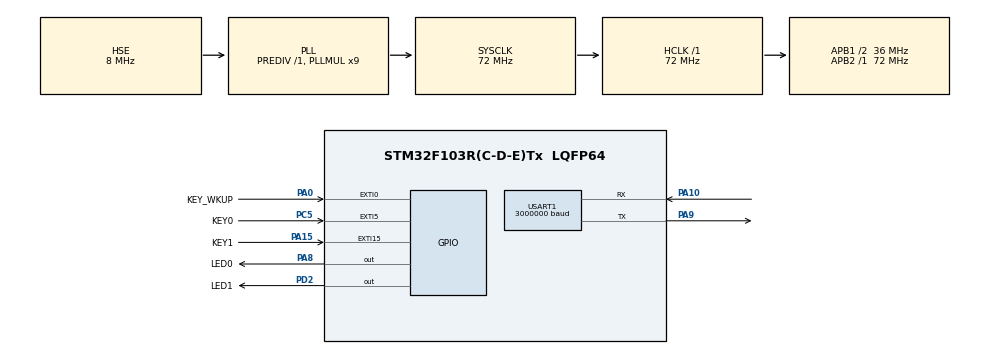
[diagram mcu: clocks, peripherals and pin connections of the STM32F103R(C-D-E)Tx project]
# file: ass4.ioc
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Mcu.Family=STM32F1
Mcu.Name=STM32F103R(C-D-E)Tx
Mcu.Package=LQFP64
NVIC.EXTI0_IRQn=true\:2\:0\:true\:false\:true\:true\:true\:true
NVIC.EXTI15_10_IRQn=true\:2\:2\:true\:false\:true\:true\:true\:true
NVIC.EXTI9_5_IRQn=true\:2\:1\:true\:false\:true\:true\:true\:true
NVIC.PriorityGroup=NVIC_PRIORITYGROUP_2
NVIC.TIM2_IRQn=true\:2\:2\:true\:false\:true\:true\:true\:true
NVIC.TIM3_IRQn=true\:2\:3\:true\:false\:true\:true\:true\:true
NVIC.TIM4_IRQn=true\:2\:3\:true\:false\:true\:true\:true\:true
NVIC.USART1_IRQn=true\:1\:0\:true\:false\:true\:true\:true\:true
PA0-WKUP.GPIO_Label=KEY_WKUP
PA0-WKUP.GPIO_PuPd=GPIO_PULLDOWN
PA0-WKUP.Signal=GPXTI0
PA10.Mode=Asynchronous
PA10.Signal=USART1_RX
PA13.Mode=Serial_Wire
PA13.Signal=SYS_JTMS-SWDIO
PA14.Mode=Serial_Wire
PA14.Signal=SYS_JTCK-SWCLK
PA15.GPIO_Label=KEY1
PA15.GPIO_ModeDefaultEXTI=GPIO_MODE_IT_FALLING
PA15.GPIO_PuPd=GPIO_PULLUP
PA15.Signal=GPXTI15
PA8.GPIO_Label=LED0
PA8.Signal=GPIO_Output
PA9.Mode=Asynchronous
PA9.Signal=USART1_TX
PC5.GPIO_Label=KEY0
PC5.GPIO_ModeDefaultEXTI=GPIO_MODE_IT_FALLING
PC5.GPIO_PuPd=GPIO_PULLUP
PC5.Signal=GPXTI5
PD0-OSC_IN.Mode=HSE-External-Oscillator
PD0-OSC_IN.Signal=RCC_OSC_IN
PD1-OSC_OUT.Mode=HSE-External-Oscillator
PD1-OSC_OUT.Signal=RCC_OSC_OUT
PD2.GPIO_Label=LED1
PD2.Signal=GPIO_Output
ProjectManager.HeapSize=0x200
ProjectManager.StackSize=0x400
ProjectManager.TargetToolchain=STM32CubeIDE
RCC.AHBFreq_Value=72000000
RCC.APB1CLKDivider=RCC_HCLK_DIV2
RCC.APB1Freq_Value=36000000
RCC.APB1TimFreq_Value=72000000
RCC.APB2Freq_Value=72000000
RCC.APB2TimFreq_Value=72000000
RCC.HCLKFreq_Value=72000000
RCC.PLLMUL=RCC_PLL_MUL9
RCC.PLLSourceVirtual=RCC_PLLSOURCE_HSE
RCC.SYSCLKFreq_VALUE=72000000
RCC.SYSCLKSource=RCC_SYSCLKSOURCE_PLLCLK
RCC.USBFreq_Value=72000000
TIM2.Period=999
TIM2.Prescaler=2399
TIM3.Period=999
TIM3.Prescaler=2399
TIM4.Period=9999
TIM4.Prescaler=7199
USART1.BaudRate=3000000
USART1.VirtualMode=VM_ASYNC
VP_TIM2_VS_ClockSourceINT.Mode=Internal
VP_TIM3_VS_ClockSourceINT.Mode=Internal
VP_TIM4_VS_ClockSourceINT.Mode=Internal
board=custom

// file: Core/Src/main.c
/* USER CODE BEGIN Header */
/**
  ******************************************************************************
  * @file           : main.c
  * @brief          : Main program body
  ******************************************************************************
  * @attention
  *
  * Copyright (c) 2024 STMicroelectronics.
  * All rights reserved.
  *
  * This software is licensed under terms that can be found in the LICENSE file
  * in the root directory of this software component.
  * If no LICENSE file comes with this software, it is provided AS-IS.
  *
  ******************************************************************************
  */
/* USER CODE END Header */
#include "main.h"
#include "tim.h"
#include "usart.h"
#include "gpio.h"

/* USER CODE BEGIN Includes */
#include "touch.h"
#include "lcd.h"
#include "delay.h"

#include "objects.h"
#include "draw.h"
#include "control.h"

#include "24cxx.h"

#include <stdio.h>
#include <string.h>
#include <time.h>
#include <stdlib.h>
/* USER CODE END Includes */

/* USER CODE BEGIN PD */
#define SCORE_SAVE_ADDR_BASE 60
/* USER CODE END PD */

/* USER CODE BEGIN PV */
uint8_t need_draw = 0, need_logic = 1;
float speed_x = 0, speed_y = 0;
float total_x = 0, end_position = 3000;
uint8_t sig_end = 0, end_msg_display = 0;
uint8_t scence_id = 0, score = 0, max_score = 0;

list_t obj_list_head;
// button -> ground -> character -> obstacle
list_t *ground_list_head = NULL, *obstacle_list_head = NULL, *character_list_head = NULL;

/* USER CODE END PV */

void SystemClock_Config(void);
/* USER CODE BEGIN PFP */
void show_greeting();
void init_button(list_t *p);
void init_ground(list_t *p);
void init_character(list_t *p);
void elements_init();
void show_warn(const char* s);
uint8_t MS_read_score();

/* USER CODE END PFP */

int main(void)
{

  /* MCU Configuration--------------------------------------------------------*/

  /* Reset of all peripherals, Initializes the Flash interface and the Systick. */
  HAL_Init();

  /* Configure the system clock */
  SystemClock_Config();

  /* Initialize all configured peripherals */
  MX_GPIO_Init();
  MX_USART1_UART_Init();
  MX_TIM3_Init();
  MX_TIM2_Init();
  MX_TIM4_Init();
  /* USER CODE BEGIN 2 */
  srand(HAL_GetTick());
  HAL_Delay_Init(72);
  LCD_Init();
  tp_dev.init(); // AT24Cxx Inited
  /* USER CODE END 2 */

  /* Infinite loop */
  /* USER CODE BEGIN WHILE */
  LCD_Display_Dir(1);
  POINT_COLOR = RED;

  show_greeting();

  elements_init();

  HAL_Delay(1500);
  srand(HAL_GetTick());

  need_draw = need_logic = 0;
  max_score = MS_read_score();
  HAL_TIM_Base_Start_IT(&htim2);
  HAL_TIM_Base_Start_IT(&htim3);
  HAL_TIM_Base_Start_IT(&htim4);

  while (1)
  {
    /* USER CODE END WHILE */

    /* USER CODE BEGIN 3 */
    if (need_draw && end_msg_display == 0 && need_logic <= 4){
      need_draw -= 1;
      draw_all(obj_list_head.next);
      show_game_status();
      if (sig_end){
        //TODO press key1 to restart
        end_msg_display = 1;
        LCD_Fill_Window(0, 80, 320, 170, WHITE);
        LCD_ShowString(50, 90, 200, 24, 24, "Game Finished!");
        show_game_status();
        if (max_score < score){
          max_score = score;
          MS_write_score(max_score);
        }
      }
      if (need_draw > 4){
        show_warn("                          ");
        show_warn("Drawing exceed time limits");
      }
    }
    if (need_logic && end_msg_display == 0){
      need_logic -= 1;
      game_logic(ground_list_head->next);
      update_elements(ground_list_head->next);
      if (need_logic > 4){
        // show_warn("Logic exceed time limits");
      }
    }
  }
  /* USER CODE END 3 */
}

void SystemClock_Config(void)
{
  RCC_OscInitTypeDef RCC_OscInitStruct = {0};
  RCC_ClkInitTypeDef RCC_ClkInitStruct = {0};

  /** Initializes the RCC Oscillators according to the specified parameters
  * in the RCC_OscInitTypeDef structure.
  */
  RCC_OscInitStruct.OscillatorType = RCC_OSCILLATORTYPE_HSE;
  RCC_OscInitStruct.HSEState = RCC_HSE_ON;
  RCC_OscInitStruct.HSEPredivValue = RCC_HSE_PREDIV_DIV1;
  RCC_OscInitStruct.HSIState = RCC_HSI_ON;
  RCC_OscInitStruct.PLL.PLLState = RCC_PLL_ON;
  RCC_OscInitStruct.PLL.PLLSource = RCC_PLLSOURCE_HSE;
  RCC_OscInitStruct.PLL.PLLMUL = RCC_PLL_MUL9;
  if (HAL_RCC_OscConfig(&RCC_OscInitStruct) != HAL_OK)
  {
    Error_Handler();
  }

  /** Initializes the CPU, AHB and APB buses clocks
  */
  RCC_ClkInitStruct.ClockType = RCC_CLOCKTYPE_HCLK|RCC_CLOCKTYPE_SYSCLK
                              |RCC_CLOCKTYPE_PCLK1|RCC_CLOCKTYPE_PCLK2;
  RCC_ClkInitStruct.SYSCLKSource = RCC_SYSCLKSOURCE_PLLCLK;
  RCC_ClkInitStruct.AHBCLKDivider = RCC_SYSCLK_DIV1;
  RCC_ClkInitStruct.APB1CLKDivider = RCC_HCLK_DIV2;
  RCC_ClkInitStruct.APB2CLKDivider = RCC_HCLK_DIV1;

  if (HAL_RCC_ClockConfig(&RCC_ClkInitStruct, FLASH_LATENCY_2) != HAL_OK)
  {
    Error_Handler();
  }
}

/* USER CODE BEGIN 4 */
void show_greeting(){
  LCD_ShowString(30, 50, 200, 16, 16, "Created by JCX");
  LCD_ShowString(30, 70, 300, 16, 16, "Character/Scene Design:");
  LCD_ShowString(30, 90, 300, 16, 16, "  Videocult: Rain World");
  LCD_ShowString(30, 110, 200, 16, 16, "Artist: JCX");
  LCD_ShowString(30, 130, 200, 16, 16, "Programmer: JCX");
  LCD_ShowString(30, 150, 200, 16, 16, "24/12/01");
  if (tp_dev.touchtype != 0XFF)
  {
    LCD_ShowString(30, 170, 200, 16, 16, "Press KEY0 to Adjust"); // 电阻屏才显示
  }
}
/*
 240 -
*/

static const uint16_t xfront = 272;
static const uint16_t ybottom = 240;
static const uint16_t lll = 5;
static const char button_s[5][20] =
{
  "UP",
  "JUMP",
  "CROUCH",
  "DASH",
  "DOWN"
};
static const uint16_t button_v[5] =
{
  MOVE_UP,
  JUMP_M,
  CROUCH_M,
  DASH_M,
  MOVE_DOWN
};

void init_button(list_t *p){
  // uint16_t bheight = 24, by=ybottom;
  // for(int16_t i = lll-1; i >= 0; --i){
  //   by -= bheight;
  //   myobj_t *pp = new_myobj(xfront, by, BUTTON);
  //   pp->data->img_x = lcddev.width - xfront;
  //   pp->data->img_y = bheight;
  //   uint16_t *ppx = (uint16_t*)malloc(sizeof(uint16_t)*2);
  //   ppx[0] = rand();
  //   ppx[1] = button_v[i];
  //   pp->data->data = ppx;
  //   pp->data->mask = button_s[i];
  //   pp->data->scale = 1;
  //   insert_lt(p, pp);
  //   // by -= 6;
  // }
  uint16_t bheight = 24;
  uint16_t by = lcddev.height-bheight, bx = lcddev.width, dx = lcddev.width - xfront;
  for(int16_t i = lll-1; i >= 0; --i){
    bx -= dx;
    myobj_t *pp = new_myobj(bx, by, BUTTON);
    pp->data->img_x = lcddev.width - xfront;
    pp->data->img_y = bheight;
    uint16_t *ppx = (uint16_t*)malloc(sizeof(uint16_t)*2);
    ppx[0] = rand();
    ppx[1] = button_v[i];
    pp->data->data = ppx;
    pp->data->mask = button_s[i];
    pp->data->scale = 1;
    insert_lt(p, pp);
    // by -= 6;
  }
}
void init_ground(list_t *p){
  insert_lt(p, new_myobj(0, 62, GROUND));
  insert_lt(p, new_myobj(0, 142, GROUND));
  insert_lt(p, new_myobj(0, 222, GROUND));
  insert_lt(p, new_myobj(320, 62, GROUND));
  insert_lt(p, new_myobj(320, 142, GROUND));
  insert_lt(p, new_myobj(320, 222, GROUND));
}
void init_character(list_t *p){
  insert_lt(p, new_myobj(10, 120, FIGURE));
}
void show_warn(const char* s){
  LCD_ShowString(10, 10, 300, 12, 12, s);
}
void elements_init(){
  if(ground_list_head != NULL){
    free_lt(ground_list_head->next);
  } else {
    init_button(&obj_list_head);
  }

  ground_list_head = &obj_list_head;
  while(ground_list_head->next != NULL){
    ground_list_head = ground_list_head->next;
  }

  init_ground(ground_list_head);

  character_list_head = ground_list_head;
  while(character_list_head->next != NULL){
    character_list_head = character_list_head->next;
  }

  init_character(character_list_head);

  obstacle_list_head = character_list_head;
  while(obstacle_list_head->next != NULL){
    obstacle_list_head = obstacle_list_head->next;
  }
}

static char gs_str1[20] = "Time: ";
static char gs_str2[20] = "Score: ";
static char gs_str3[20] = "MAX Score: ";
static uint16_t tim_tick_s = 0, tim_tick_m = 0;

void game_status_update(){
  tim_tick_s += 1;
  if (tim_tick_s == 60) {
    tim_tick_m += 1;
    tim_tick_s = 0;
  }
}

void show_game_status(){
  sprintf(gs_str1+6, "%02d:%02d", tim_tick_m, tim_tick_s);
  sprintf(gs_str2+7, "%02d", score);
  sprintf(gs_str3+11, "%02d", max_score);
  if (tim_tick_m == 2){
    sig_end = 1;
    end_msg_display = 1;
    LCD_Fill_Window(0, 80, 320, 170, WHITE);
    LCD_ShowString(50, 90, 200, 24, 24, "Exceed Time Limits!");
    LCD_ShowString(100, 120, 200, 12, 12, gs_str1);
    LCD_ShowString(100, 136, 200, 12, 12, gs_str2);
    LCD_ShowString(100, 152, 200, 12, 12, gs_str3);
  }
  if (end_msg_display || sig_end){
    LCD_ShowString(100, 120, 200, 12, 12, gs_str1);
    LCD_ShowString(100, 136, 200, 12, 12, gs_str2);
    LCD_ShowString(100, 152, 200, 12, 12, gs_str3);
  } else {
    LCD_ShowString(10, 10, 200, 12, 12, gs_str1);
    LCD_ShowString(10, 26, 200, 12, 12, gs_str2);
    LCD_ShowString(10, 42, 200, 12, 12, gs_str3);
  }
}

uint8_t MS_read_score(){
  uint8_t tmp = AT24CXX_ReadOneByte(SCORE_SAVE_ADDR_BASE);
  if (tmp == 0x0A) {
    return AT24CXX_ReadOneByte(SCORE_SAVE_ADDR_BASE+1);
  } else {
    return 0;
  }
}
void MS_write_score(uint8_t score){
  AT24CXX_WriteOneByte(SCORE_SAVE_ADDR_BASE, 0x0A);
  AT24CXX_WriteOneByte(SCORE_SAVE_ADDR_BASE+1, score);
}
/* USER CODE END 4 */

void Error_Handler(void)
{
  __disable_irq();
  while (1)
  {
  }
}
